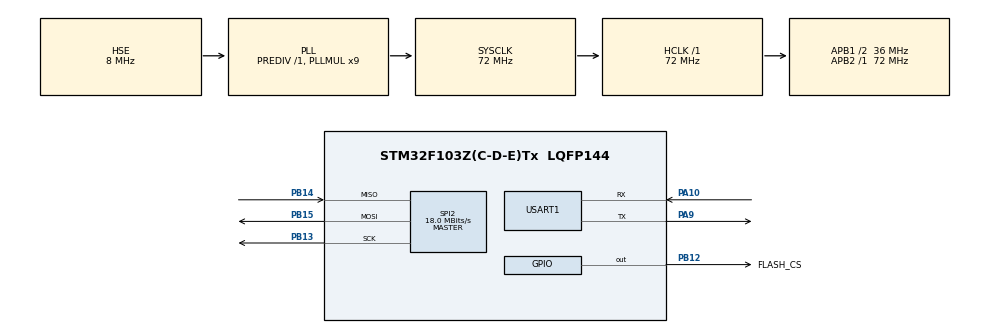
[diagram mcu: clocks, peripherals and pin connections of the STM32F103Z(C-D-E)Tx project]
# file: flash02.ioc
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Mcu.Family=STM32F1
Mcu.Name=STM32F103Z(C-D-E)Tx
Mcu.Package=LQFP144
NVIC.PriorityGroup=NVIC_PRIORITYGROUP_4
OSC_IN.Mode=HSE-External-Oscillator
OSC_IN.Signal=RCC_OSC_IN
OSC_OUT.Mode=HSE-External-Oscillator
OSC_OUT.Signal=RCC_OSC_OUT
PA10.Mode=Asynchronous
PA10.Signal=USART1_RX
PA13.Mode=Serial_Wire
PA13.Signal=SYS_JTMS-SWDIO
PA14.Mode=Serial_Wire
PA14.Signal=SYS_JTCK-SWCLK
PA9.Mode=Asynchronous
PA9.Signal=USART1_TX
PB12.GPIO_Label=FLASH_CS
PB12.GPIO_Speed=GPIO_SPEED_FREQ_HIGH
PB12.PinState=GPIO_PIN_SET
PB12.Signal=GPIO_Output
PB13.Mode=Full_Duplex_Master
PB13.Signal=SPI2_SCK
PB14.Mode=Full_Duplex_Master
PB14.Signal=SPI2_MISO
PB15.Mode=Full_Duplex_Master
PB15.Signal=SPI2_MOSI
PC14-OSC32_IN.Mode=LSE-External-Oscillator
PC14-OSC32_IN.Signal=RCC_OSC32_IN
PC15-OSC32_OUT.Mode=LSE-External-Oscillator
PC15-OSC32_OUT.Signal=RCC_OSC32_OUT
ProjectManager.HeapSize=0x200
ProjectManager.StackSize=0x400
ProjectManager.TargetToolchain=MDK-ARM V5.32
RCC.AHBFreq_Value=72000000
RCC.APB1CLKDivider=RCC_HCLK_DIV2
RCC.APB1Freq_Value=36000000
RCC.APB1TimFreq_Value=72000000
RCC.APB2Freq_Value=72000000
RCC.APB2TimFreq_Value=72000000
RCC.HCLKFreq_Value=72000000
RCC.PLLMUL=RCC_PLL_MUL9
RCC.PLLSourceVirtual=RCC_PLLSOURCE_HSE
RCC.SYSCLKFreq_VALUE=72000000
RCC.SYSCLKSource=RCC_SYSCLKSOURCE_PLLCLK
RCC.USBFreq_Value=72000000
SPI2.CalculateBaudRate=18.0 MBits/s
SPI2.Direction=SPI_DIRECTION_2LINES
SPI2.Mode=SPI_MODE_MASTER
SPI2.VirtualType=VM_MASTER
USART1.VirtualMode=VM_ASYNC
board=custom

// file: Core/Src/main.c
/* USER CODE BEGIN Header */
/**
  ******************************************************************************
  * @file           : main.c
  * @brief          : Main program body
  ******************************************************************************
  * @attention
  *
  * Copyright (c) 2026 STMicroelectronics.
  * All rights reserved.
  *
  * This software is licensed under terms that can be found in the LICENSE file
  * in the root directory of this software component.
  * If no LICENSE file comes with this software, it is provided AS-IS.
  *
  ******************************************************************************
  */
/* USER CODE END Header */
#include "main.h"
#include "spi.h"
#include "usart.h"
#include "gpio.h"

/* USER CODE BEGIN Includes */
#include "flash.h"
#include "log.h"
#include <stdio.h>
/* USER CODE END Includes */

void SystemClock_Config(void);

int main(void)
{

  /* MCU Configuration--------------------------------------------------------*/

  /* Reset of all peripherals, Initializes the Flash interface and the Systick. */
  HAL_Init();

  /* Configure the system clock */
  SystemClock_Config();

  /* Initialize all configured peripherals */
  MX_GPIO_Init();
  MX_SPI2_Init();
  MX_USART1_UART_Init();
  /* USER CODE BEGIN 2 */
    /* ===== 黑匣子验收：每次上电写一条，回放全部历史 ===== */
  {
    uint8_t data[12];
    uint8_t rec[16];
    uint8_t i;
    uint16_t n;

    Log_Init();
    n = Log_Count();
    printf("\r\n--- blackbox ---\r\n");
    printf("count on boot = %u\r\n", (unsigned)n);

    data[0] = 0xBB;
    data[1] = (uint8_t)(HAL_GetTick() >> 8);
    data[2] = (uint8_t)HAL_GetTick();
    Log_Append(data, 3);
    printf("appended one, count = %u\r\n", (unsigned)Log_Count());

    for (i = 0; i < Log_Count(); i++)
    {
      uint8_t sum = 0, j;

      Log_Read(i, rec);
      for (j = 0; j < 15; j++) sum += rec[j];

      printf("rec[%u] seq=%u len=%u sum=%s data=%02X %02X%02X\r\n",
             (unsigned)i,
             (unsigned)((rec[0] << 8) | rec[1]),
             (unsigned)rec[2],
             (sum == rec[15]) ? "OK" : "BAD",
             (unsigned)rec[3],
             (unsigned)rec[4], (unsigned)rec[5]);
    }
  }

  /* USER CODE END 2 */

  /* Infinite loop */
  while (1)
  {

  }
}

void SystemClock_Config(void)
{
  RCC_OscInitTypeDef RCC_OscInitStruct = {0};
  RCC_ClkInitTypeDef RCC_ClkInitStruct = {0};

  /** Initializes the RCC Oscillators according to the specified parameters
  * in the RCC_OscInitTypeDef structure.
  */
  RCC_OscInitStruct.OscillatorType = RCC_OSCILLATORTYPE_HSE;
  RCC_OscInitStruct.HSEState = RCC_HSE_ON;
  RCC_OscInitStruct.HSEPredivValue = RCC_HSE_PREDIV_DIV1;
  RCC_OscInitStruct.HSIState = RCC_HSI_ON;
  RCC_OscInitStruct.PLL.PLLState = RCC_PLL_ON;
  RCC_OscInitStruct.PLL.PLLSource = RCC_PLLSOURCE_HSE;
  RCC_OscInitStruct.PLL.PLLMUL = RCC_PLL_MUL9;
  if (HAL_RCC_OscConfig(&RCC_OscInitStruct) != HAL_OK)
  {
    Error_Handler();
  }

  /** Initializes the CPU, AHB and APB buses clocks
  */
  RCC_ClkInitStruct.ClockType = RCC_CLOCKTYPE_HCLK|RCC_CLOCKTYPE_SYSCLK
                              |RCC_CLOCKTYPE_PCLK1|RCC_CLOCKTYPE_PCLK2;
  RCC_ClkInitStruct.SYSCLKSource = RCC_SYSCLKSOURCE_PLLCLK;
  RCC_ClkInitStruct.AHBCLKDivider = RCC_SYSCLK_DIV1;
  RCC_ClkInitStruct.APB1CLKDivider = RCC_HCLK_DIV2;
  RCC_ClkInitStruct.APB2CLKDivider = RCC_HCLK_DIV1;

  if (HAL_RCC_ClockConfig(&RCC_ClkInitStruct, FLASH_LATENCY_2) != HAL_OK)
  {
    Error_Handler();
  }
}

void Error_Handler(void)
{
  __disable_irq();
  while (1)
  {
  }
}
